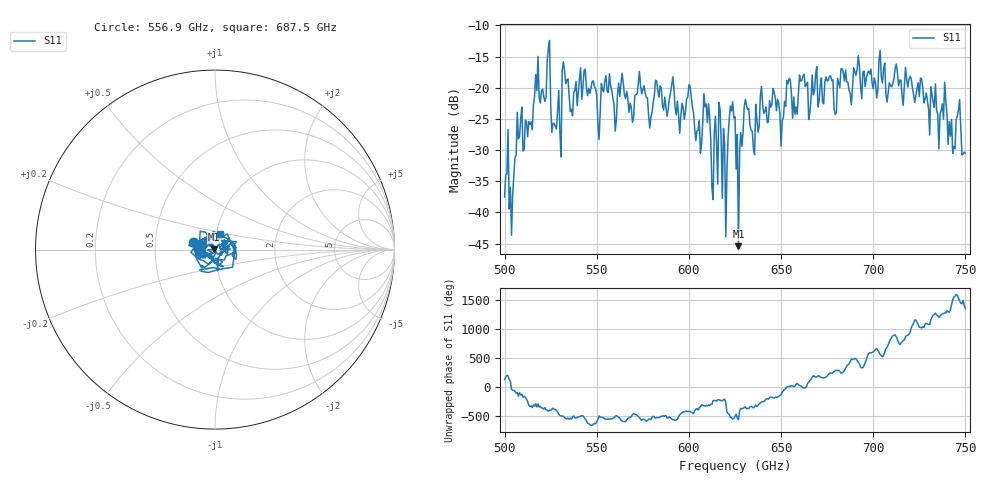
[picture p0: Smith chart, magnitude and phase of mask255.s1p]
!Created with skrf (http://scikit-rf.org).
# GHz S MA R 50.0
!freq magS11 angS11
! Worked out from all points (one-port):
!   401 points, 500 GHz to 750 GHz, reference 50 ohm
!   lowest |S11| = -45.4 dB at 626.9 GHz (marker M1), VSWR 1.01, Z = 49.5 + j0.243 ohm
!   |S11| at or under -10 dB: start of sweep to end of sweep
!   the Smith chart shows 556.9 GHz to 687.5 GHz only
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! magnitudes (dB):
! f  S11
! 500 GHz  -37.5
! 503.8 GHz  -43.6
! 508.1 GHz  -27.8
! 513.8 GHz  -25.9
! 516.9 GHz  -17.9
! 523.8 GHz  -13.6
! 526.9 GHz  -25.7
! 531.2 GHz  -17.2
! 562.5 GHz  -21.4
! 593.8 GHz  -22.1
! 600 GHz  -19.5
! 605.6 GHz  -25.3
! 609.4 GHz  -22.6
! 612.5 GHz  -36.1
! 617.5 GHz  -28.4
! 619.4 GHz  -29.0
! 622.5 GHz  -22.9
! 625 GHz  -24.7
! 626.9 GHz  -45.4
! 631.2 GHz  -22.8
! 634.4 GHz  -27.0
! 640 GHz  -22.7
! 656.2 GHz  -24.9
! 687.5 GHz  -20.9
! 718.8 GHz  -19.9
! 743.1 GHz  -30.5
! 746.2 GHz  -23.6
! 750 GHz  -30.5
